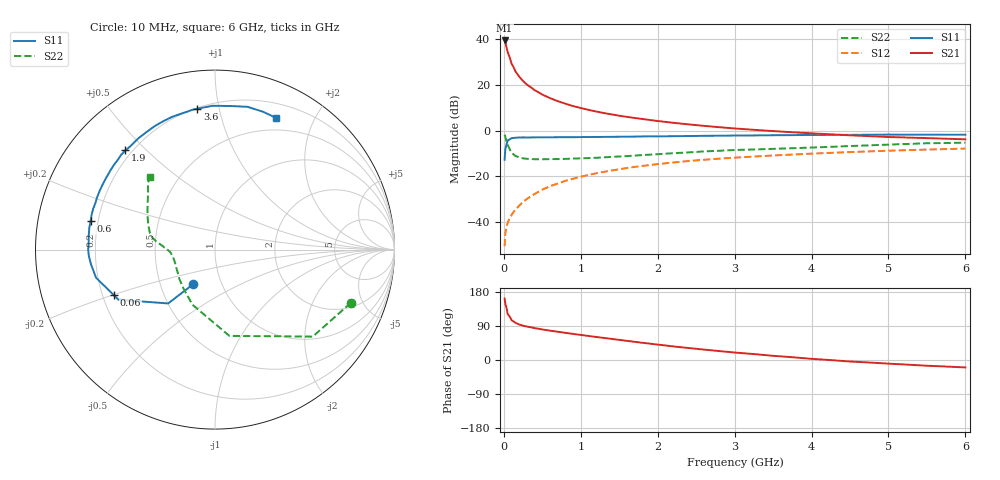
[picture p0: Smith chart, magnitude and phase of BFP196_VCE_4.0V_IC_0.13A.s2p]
! Infineon Technologies  Discrete & RF Semiconductors
! BFP196
! VCE =  4.0 V,  IC = 0.13 A
! Common Emitter S-Parameters:  Jan 2017
# GHz  S  MA  R  50
!  f  S11  S21  S12  S22
! GHz  MAG  ANG  MAG  ANG  MAG  ANG  MAG  ANG
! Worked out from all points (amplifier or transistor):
!   77 points, 10 MHz to 6 GHz, reference 50 ohm
!   highest |S21| = 39.5 dB at 10 MHz (marker M1)
!   |S21| within 3 dB of that: start of sweep to 34.61 MHz
!   unconditionally stable (mu >= 1): 280.6 MHz to 2.515 GHz
!   at 130 MHz: K = 0.83, MSG = 31.6 dB, |S12| = -35.6 dB
!   at 2.2 GHz: K = 1.02, MAG = 8.0 dB, |S12| = -14.0 dB
!   at 6 GHz: K = 0.97, MSG = 2.0 dB, |S12| = -7.9 dB
!   S11 on the Smith chart (normalised r, x): 10 MHz: 0.73, -0.30; 60 MHz: 0.25, -0.20; 600 MHz: 0.17, +0.11; 1.9 GHz: 0.17, +0.43; 3.6 GHz: 0.21, +0.86; 6 GHz: 0.36, +1.51
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0.01  0.2282 -122.3  94.92 162.0  0.0029 80.0  0.8129 -21.4
0.02  0.3974 -131.0  84.57 147.0  0.0057 69.5  0.7289 -41.7
0.05  0.6063 -152.6  52.45 120.7  0.0095 55.9  0.4875 -80.5
0.06  0.618 -155.7  47.65 118.8  0.0104 57.1  0.4477 -85.0
0.1  0.6809 -166.7  29.46 104.8  0.014 60.4  0.3316 -112.3
0.15  0.6955 -173.2  20.1 98.1  0.0183 63.9  0.2782 -129.4
0.2  0.7034 -176.9  15.2 93.8  0.0225 68.1  0.2581 -140.0
0.25  0.7068 -179.9  12.2 90.5  0.0274 68.6  0.2452 -147.1
0.3  0.7048 177.7  10.19 88.2  0.0315 70.6  0.2401 -152.7
0.4  0.7076 174.0  7.69 84.0  0.0405 71.9  0.2347 -159.3
0.5  0.7105 170.4  6.156 80.6  0.0504 71.7  0.2345 -163.9
0.6  0.7112 167.2  5.153 77.4  0.0601 71.2  0.236 -167.4
0.8  0.7158 161.6  3.878 71.6  0.0788 70.2  0.2387 -171.8
1.1  0.721 153.2  2.848 63.5  0.1062 66.8  0.2492 -176.3
1.5  0.7312 142.7  2.117 53.1  0.1416 61.2  0.2694 179.1
1.9  0.745 132.1  1.704 43.2  0.1755 55.4  0.296 175.6
2.1  0.7476 127.2  1.55 38.4  0.1908 52.4  0.3105 174.0
3.1  0.7784 106.0  1.082 18.1  0.2598 38.1  0.3779 164.6
3.6  0.7909 97.2  0.951 9.6  0.289 31.8  0.4013 158.2
4.1  0.801 89.5  0.851 1.8  0.3164 25.6  0.4297 151.1
5.1  0.8145 75.8  0.714 -10.7  0.3652 13.6  0.4982 138.5
6  0.809 65.0  0.642 -19.6  0.4023 3.4  0.5411 131.8
